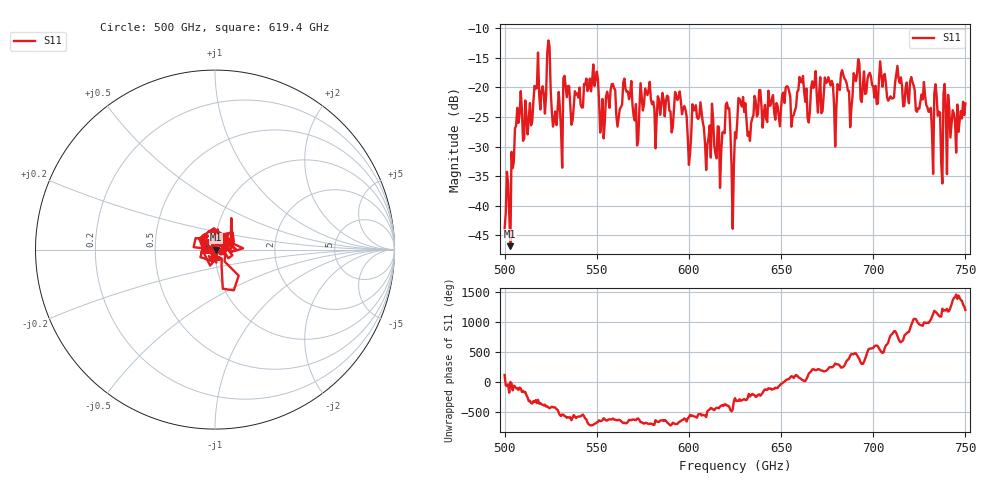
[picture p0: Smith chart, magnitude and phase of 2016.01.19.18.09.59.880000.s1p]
!Created with skrf (http://scikit-rf.org).
# GHz S RI R 50.0
!freq ReS11 ImS11
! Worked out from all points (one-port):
!   401 points, 500 GHz to 750 GHz, reference 50 ohm
!   lowest |S11| = -46.9 dB at 503.1 GHz (marker M1), VSWR 1.01, Z = 50.5 + j0.00225 ohm
!   |S11| at or under -10 dB: start of sweep to end of sweep
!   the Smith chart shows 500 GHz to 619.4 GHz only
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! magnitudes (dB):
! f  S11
! 500 GHz  -44.0
! 503.1 GHz  -46.9
! 507.5 GHz  -26.0
! 516.9 GHz  -20.2
! 523.8 GHz  -12.0
! 526.9 GHz  -25.6
! 531.2 GHz  -33.6
! 549.4 GHz  -18.7
! 553.1 GHz  -21.9
! 558.8 GHz  -19.4
! 562.5 GHz  -23.7
! 593.8 GHz  -22.1
! 600 GHz  -33.1
! 603.1 GHz  -23.8
! 615.6 GHz  -26.6
! 621.2 GHz  -23.6
! 625 GHz  -27.6
! 628.1 GHz  -22.7
! 632.5 GHz  -27.5
! 656.2 GHz  -24.9
! 660.6 GHz  -19.1
! 687.5 GHz  -26.7
! 691.2 GHz  -17.7
! 718.8 GHz  -21.4
! 731.2 GHz  -23.5
! 734.4 GHz  -21.3
! 736.2 GHz  -24.3
! 750 GHz  -22.7
